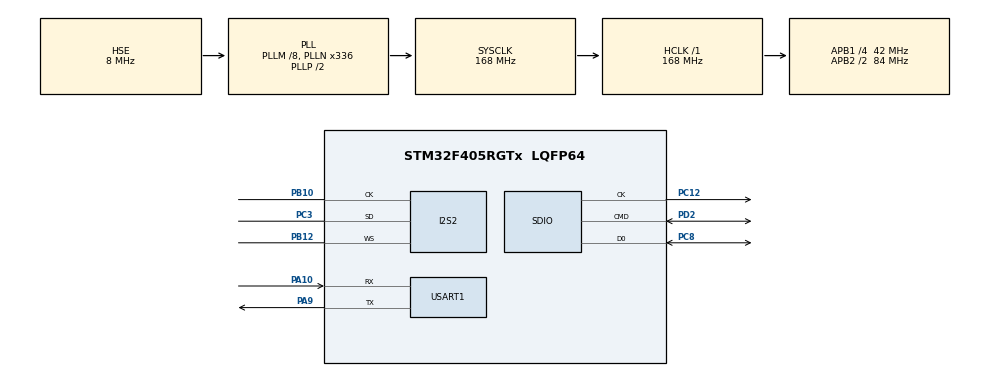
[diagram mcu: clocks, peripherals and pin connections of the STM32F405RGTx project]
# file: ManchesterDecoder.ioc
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Dma.Request0=SDIO_RX
Dma.Request1=SDIO_TX
Dma.Request2=SPI2_RX
Dma.SDIO_RX.0.Direction=DMA_PERIPH_TO_MEMORY
Dma.SDIO_RX.0.FIFOMode=DMA_FIFOMODE_ENABLE
Dma.SDIO_RX.0.FIFOThreshold=DMA_FIFO_THRESHOLD_FULL
Dma.SDIO_RX.0.Instance=DMA2_Stream3
Dma.SDIO_RX.0.MemBurst=DMA_MBURST_INC4
Dma.SDIO_RX.0.MemDataAlignment=DMA_MDATAALIGN_WORD
Dma.SDIO_RX.0.MemInc=DMA_MINC_ENABLE
Dma.SDIO_RX.0.Mode=DMA_PFCTRL
Dma.SDIO_RX.0.PeriphBurst=DMA_PBURST_INC4
Dma.SDIO_RX.0.PeriphDataAlignment=DMA_PDATAALIGN_WORD
Dma.SDIO_RX.0.PeriphInc=DMA_PINC_DISABLE
Dma.SDIO_RX.0.Priority=DMA_PRIORITY_LOW
Dma.SDIO_TX.1.Direction=DMA_MEMORY_TO_PERIPH
Dma.SDIO_TX.1.FIFOMode=DMA_FIFOMODE_ENABLE
Dma.SDIO_TX.1.FIFOThreshold=DMA_FIFO_THRESHOLD_FULL
Dma.SDIO_TX.1.Instance=DMA2_Stream6
Dma.SDIO_TX.1.MemBurst=DMA_MBURST_INC4
Dma.SDIO_TX.1.MemDataAlignment=DMA_MDATAALIGN_WORD
Dma.SDIO_TX.1.MemInc=DMA_MINC_ENABLE
Dma.SDIO_TX.1.Mode=DMA_PFCTRL
Dma.SDIO_TX.1.PeriphBurst=DMA_PBURST_INC4
Dma.SDIO_TX.1.PeriphDataAlignment=DMA_PDATAALIGN_WORD
Dma.SDIO_TX.1.PeriphInc=DMA_PINC_DISABLE
Dma.SDIO_TX.1.Priority=DMA_PRIORITY_LOW
Dma.SPI2_RX.2.Direction=DMA_PERIPH_TO_MEMORY
Dma.SPI2_RX.2.FIFOMode=DMA_FIFOMODE_DISABLE
Dma.SPI2_RX.2.Instance=DMA1_Stream3
Dma.SPI2_RX.2.MemDataAlignment=DMA_MDATAALIGN_HALFWORD
Dma.SPI2_RX.2.MemInc=DMA_MINC_ENABLE
Dma.SPI2_RX.2.Mode=DMA_CIRCULAR
Dma.SPI2_RX.2.PeriphDataAlignment=DMA_PDATAALIGN_HALFWORD
Dma.SPI2_RX.2.PeriphInc=DMA_PINC_DISABLE
Dma.SPI2_RX.2.Priority=DMA_PRIORITY_LOW
FATFS._MAX_SS=2048
FATFS._MIN_SS=512
FATFS._USE_LFN=2
FREERTOS.Tasks01=ReadMicro,24,1024,StartReadMicro,Default,NULL,Dynamic,NULL,NULL;SDAudioWriter,24,1024,StartSDAudioWriter,Default,NULL,Dynamic,NULL,NULL;SDIMUWriter,24,1024,StartSDIMUWriter,Default,NULL,Dynamic,NULL,NULL;ReadIMUHandle,24,1024,StartReamIMUHandle,Default,NULL,Dynamic,NULL,NULL
FREERTOS.configMINIMAL_STACK_SIZE=1024
FREERTOS.configTOTAL_HEAP_SIZE=50000
I2S2.AudioFreq=I2S_AUDIOFREQ_44K
I2S2.AudioFreqCustom=64000
I2S2.CPOL=I2S_CPOL_LOW
I2S2.DataFormat=I2S_DATAFORMAT_16B
I2S2.ErrorAudioFreq=-0.56 %
I2S2.FullDuplexMode=I2S_FULLDUPLEXMODE_DISABLE
I2S2.Instance=SPI$Index
I2S2.Mode=I2S_MODE_MASTER_RX
I2S2.RealAudioFreq=43.75 KHz
I2S2.VirtualMode=I2S_MODE_MASTER
Mcu.Family=STM32F4
Mcu.Name=STM32F405RGTx
Mcu.Package=LQFP64
NVIC.DMA1_Stream3_IRQn=true\:5\:0\:false\:false\:true\:true\:false\:true\:true
NVIC.DMA2_Stream3_IRQn=true\:5\:0\:false\:false\:true\:true\:false\:true\:true
NVIC.DMA2_Stream6_IRQn=true\:5\:0\:false\:false\:true\:true\:false\:true\:true
NVIC.PriorityGroup=NVIC_PRIORITYGROUP_4
NVIC.SDIO_IRQn=true\:5\:0\:false\:false\:true\:true\:true\:true\:true
NVIC.SPI2_IRQn=true\:5\:0\:false\:false\:true\:true\:true\:true\:true
PA10.Mode=Asynchronous
PA10.Signal=USART1_RX
PA9.Mode=Asynchronous
PA9.Signal=USART1_TX
PB10.Mode=Half_Duplex_Master
PB10.Signal=I2S2_CK
PB12.Mode=Half_Duplex_Master
PB12.Signal=I2S2_WS
PC12.GPIO_PuPd=GPIO_NOPULL
PC12.Mode=SD_1_bit
PC12.Signal=SDIO_CK
PC14-OSC32_IN.Mode=LSE-External-Oscillator
PC14-OSC32_IN.Signal=RCC_OSC32_IN
PC15-OSC32_OUT.Mode=LSE-External-Oscillator
PC15-OSC32_OUT.Signal=RCC_OSC32_OUT
PC3.Mode=Half_Duplex_Master
PC3.Signal=I2S2_SD
PC8.GPIO_PuPd=GPIO_PULLUP
PC8.Mode=SD_1_bit
PC8.Signal=SDIO_D0
PD2.GPIO_PuPd=GPIO_PULLUP
PD2.Mode=SD_1_bit
PD2.Signal=SDIO_CMD
PH0-OSC_IN.Mode=HSE-External-Oscillator
PH0-OSC_IN.Signal=RCC_OSC_IN
PH1-OSC_OUT.Mode=HSE-External-Oscillator
PH1-OSC_OUT.Signal=RCC_OSC_OUT
ProjectManager.HeapSize=0x400
ProjectManager.StackSize=0x800
ProjectManager.TargetToolchain=STM32CubeIDE
RCC.48MHZClocksFreq_Value=48000000
RCC.AHBFreq_Value=168000000
RCC.APB1CLKDivider=RCC_HCLK_DIV4
RCC.APB1Freq_Value=42000000
RCC.APB1TimFreq_Value=84000000
RCC.APB2CLKDivider=RCC_HCLK_DIV2
RCC.APB2Freq_Value=84000000
RCC.APB2TimFreq_Value=168000000
RCC.CortexFreq_Value=168000000
RCC.HCLKFreq_Value=168000000
RCC.HSE_VALUE=8000000
RCC.HSI_VALUE=16000000
RCC.PLLI2SN=168
RCC.PLLI2SR=4
RCC.PLLM=8
RCC.PLLN=336
RCC.PLLQ=7
RCC.PLLSourceVirtual=RCC_PLLSOURCE_HSE
RCC.SYSCLKFreq_VALUE=168000000
RCC.SYSCLKSource=RCC_SYSCLKSOURCE_PLLCLK
RCC.VCOOutputFreq_Value=336000000
SDIO.ClockBypass=SDIO_CLOCK_BYPASS_DISABLE
SDIO.ClockDiv=20
USART1.VirtualMode=VM_ASYNC
VP_FATFS_VS_SDIO.Mode=SDIO
VP_FREERTOS_VS_CMSIS_V2.Mode=CMSIS_V2
board=custom

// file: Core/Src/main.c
/* USER CODE BEGIN Header */
/**
  ******************************************************************************
  * @file           : main.c
  * @brief          : Main program body - ASK Manchester Decoder Edition
  ******************************************************************************
  */
/* USER CODE END Header */
#include "main.h"
#include "cmsis_os.h"
#include "fatfs.h"

/* USER CODE BEGIN Includes */
#include "log_message.h"
#include "wav_header.h"
#include <stdio.h>
#include <stdbool.h>
#include <string.h>
#include <math.h>
/* USER CODE END Includes */

/* USER CODE BEGIN PD */
// 44117 Hz / 100 bps = 441 samples per bit.
#define SAMPLES_PER_BIT 281
#define PREAMBLE_BITS   48         // 6 bytes of 00h = 48 bits
#define SYNC_BITS       16         // B2 4D = 16 bits
#define PAYLOAD_BITS    40         // 03 AB CD 90 35 = 5 bytes = 40 bits
/* USER CODE END PD */

I2S_HandleTypeDef hi2s2;
DMA_HandleTypeDef hdma_spi2_rx;

SD_HandleTypeDef hsd;
DMA_HandleTypeDef hdma_sdio_rx;
DMA_HandleTypeDef hdma_sdio_tx;

UART_HandleTypeDef huart1;

/* USER CODE BEGIN PV */
osThreadId_t ReadMicroHandle;
const osThreadAttr_t ReadMicro_attributes = {
  .name = "ReadMicro",
  .stack_size = 1024 * 4,
  .priority = (osPriority_t) osPriorityNormal,
};

osThreadId_t SDAudioWriterHandle;
const osThreadAttr_t SDAudioWriter_attributes = {
  .name = "SDAudioWriter",
  .stack_size = 1024 * 4,
  .priority = (osPriority_t) osPriorityNormal,
};

osThreadId_t ManchesterDecoderHandle;
const osThreadAttr_t ManchesterDecoder_attributes = {
  .name = "ManchDecoder",
  .stack_size = 4096 * 4,
  .priority = (osPriority_t) osPriorityHigh,
};

#define AUDIO_BUFFER_SIZE 1024
#define SAFE_POOL_DEPTH 30

int16_t AudioSafePool[SAFE_POOL_DEPTH][AUDIO_BUFFER_SIZE / 2];
volatile uint8_t pool_write_idx = 0;

__attribute__((aligned(2))) int16_t AudioDMA_Buffer[AUDIO_BUFFER_SIZE];
__attribute__((aligned(2))) int16_t SDWriteAudioBuffer[AUDIO_BUFFER_SIZE];

osMessageQueueId_t AudioLogQueueHandle;
osMessageQueueId_t DecoderAudioQueueHandle;

osSemaphoreId_t SDMountedSem;
osSemaphoreId_t StartCaptureSem;

float agc_gain = 1.0f;
const float AGC_TARGET_PEAK = 10000.0f;
const float AGC_ATTACK = 0.05;
const float AGC_RELEASE = 0.01;

osMutexId_t SDMutexHandle;
const osMutexAttr_t SDMutex_attributes = {
  .name = "SDMutex"
};

// Globals required by log_message.h
osMessageQueueId_t LogQueueHandle = NULL;
osSemaphoreId_t LoggerReadySem = NULL;
/* USER CODE END PV */

void SystemClock_Config(void);
static void MX_GPIO_Init(void);
static void MX_DMA_Init(void);
static void MX_SDIO_SD_Init(void);
static void MX_USART1_UART_Init(void);
static void MX_I2S2_Init(void);
void StartReadMicro(void *argument);
void StartSDAudioWriter(void *argument);
void StartManchesterDecoder(void *argument);

/* USER CODE BEGIN PFP */
int _write(int file, char *ptr, int len) {
    HAL_UART_Transmit(&huart1, (uint8_t *)ptr, len, 100);
    return len;
}
/* USER CODE END PFP */

int main(void)
{
  HAL_Init();
  SystemClock_Config();

  MX_GPIO_Init();
  MX_DMA_Init();
  MX_SDIO_SD_Init();
  MX_USART1_UART_Init();
  MX_FATFS_Init();
  MX_I2S2_Init();

  osKernelInitialize();

  SDMutexHandle = osMutexNew(&SDMutex_attributes);
  if (SDMutexHandle == NULL) Error_Handler();

  const osSemaphoreAttr_t SDMounted_attr = { .name = "SDMounted" };
  const osSemaphoreAttr_t StartCapture_attr = { .name = "StartCapture" };
  SDMountedSem = osSemaphoreNew(1, 0, &SDMounted_attr);
  StartCaptureSem = osSemaphoreNew(1, 0, &StartCapture_attr);
  if (SDMountedSem == NULL || StartCaptureSem == NULL) Error_Handler();

  AudioLogQueueHandle = osMessageQueueNew(30, sizeof(LogMessage_t), NULL);
  DecoderAudioQueueHandle = osMessageQueueNew(30, sizeof(LogMessage_t), NULL);
  if (AudioLogQueueHandle == NULL || DecoderAudioQueueHandle == NULL) Error_Handler();

  ReadMicroHandle = osThreadNew(StartReadMicro, NULL, &ReadMicro_attributes);
  SDAudioWriterHandle = osThreadNew(StartSDAudioWriter, NULL, &SDAudioWriter_attributes);
  ManchesterDecoderHandle = osThreadNew(StartManchesterDecoder, NULL, &ManchesterDecoder_attributes);

  osKernelStart();

  while (1) {}
}

void SystemClock_Config(void)
{
  RCC_OscInitTypeDef RCC_OscInitStruct = {0};
  RCC_ClkInitTypeDef RCC_ClkInitStruct = {0};

  __HAL_RCC_PWR_CLK_ENABLE();
  __HAL_PWR_VOLTAGESCALING_CONFIG(PWR_REGULATOR_VOLTAGE_SCALE1);

  RCC_OscInitStruct.OscillatorType = RCC_OSCILLATORTYPE_HSE;
  RCC_OscInitStruct.HSEState = RCC_HSE_ON;
  RCC_OscInitStruct.PLL.PLLState = RCC_PLL_ON;
  RCC_OscInitStruct.PLL.PLLSource = RCC_PLLSOURCE_HSE;
  RCC_OscInitStruct.PLL.PLLM = 8;
  RCC_OscInitStruct.PLL.PLLN = 336;
  RCC_OscInitStruct.PLL.PLLP = RCC_PLLP_DIV2;
  RCC_OscInitStruct.PLL.PLLQ = 7;
  if (HAL_RCC_OscConfig(&RCC_OscInitStruct) != HAL_OK) Error_Handler();

  RCC_ClkInitStruct.ClockType = RCC_CLOCKTYPE_HCLK|RCC_CLOCKTYPE_SYSCLK
                              |RCC_CLOCKTYPE_PCLK1|RCC_CLOCKTYPE_PCLK2;
  RCC_ClkInitStruct.SYSCLKSource = RCC_SYSCLKSOURCE_PLLCLK;
  RCC_ClkInitStruct.AHBCLKDivider = RCC_SYSCLK_DIV1;
  RCC_ClkInitStruct.APB1CLKDivider = RCC_HCLK_DIV4;
  RCC_ClkInitStruct.APB2CLKDivider = RCC_HCLK_DIV2;

  if (HAL_RCC_ClockConfig(&RCC_ClkInitStruct, FLASH_LATENCY_5) != HAL_OK) Error_Handler();
}

static void MX_I2S2_Init(void)
{
  hi2s2.Instance = SPI2;
  hi2s2.Init.Mode = I2S_MODE_MASTER_RX;
  hi2s2.Init.Standard = I2S_STANDARD_PHILIPS;
  hi2s2.Init.DataFormat = I2S_DATAFORMAT_16B;
  hi2s2.Init.MCLKOutput = I2S_MCLKOUTPUT_DISABLE;
  hi2s2.Init.AudioFreq = I2S_AUDIOFREQ_44K;
  hi2s2.Init.CPOL = I2S_CPOL_LOW;
  hi2s2.Init.ClockSource = I2S_CLOCK_PLL;
  hi2s2.Init.FullDuplexMode = I2S_FULLDUPLEXMODE_DISABLE;
  if (HAL_I2S_Init(&hi2s2) != HAL_OK) Error_Handler();
}

static void MX_SDIO_SD_Init(void)
{
  hsd.Instance = SDIO;
  hsd.Init.ClockEdge = SDIO_CLOCK_EDGE_RISING;
  hsd.Init.ClockBypass = SDIO_CLOCK_BYPASS_DISABLE;
  hsd.Init.ClockPowerSave = SDIO_CLOCK_POWER_SAVE_DISABLE;
  hsd.Init.BusWide = SDIO_BUS_WIDE_1B;
  hsd.Init.HardwareFlowControl = SDIO_HARDWARE_FLOW_CONTROL_DISABLE;
  hsd.Init.ClockDiv = 20;
  if (HAL_SD_Init(&hsd) != HAL_OK) Error_Handler();
}

static void MX_USART1_UART_Init(void)
{
  huart1.Instance = USART1;
  huart1.Init.BaudRate = 115200;
  huart1.Init.WordLength = UART_WORDLENGTH_8B;
  huart1.Init.StopBits = UART_STOPBITS_1;
  huart1.Init.Parity = UART_PARITY_NONE;
  huart1.Init.Mode = UART_MODE_TX_RX;
  huart1.Init.HwFlowCtl = UART_HWCONTROL_NONE;
  huart1.Init.OverSampling = UART_OVERSAMPLING_16;
  if (HAL_UART_Init(&huart1) != HAL_OK) Error_Handler();
}

static void MX_DMA_Init(void)
{
  __HAL_RCC_DMA2_CLK_ENABLE();
  __HAL_RCC_DMA1_CLK_ENABLE();

  HAL_NVIC_SetPriority(DMA1_Stream3_IRQn, 5, 0);
  HAL_NVIC_EnableIRQ(DMA1_Stream3_IRQn);
  HAL_NVIC_SetPriority(DMA2_Stream3_IRQn, 5, 0);
  HAL_NVIC_EnableIRQ(DMA2_Stream3_IRQn);
  HAL_NVIC_SetPriority(DMA2_Stream6_IRQn, 5, 0);
  HAL_NVIC_EnableIRQ(DMA2_Stream6_IRQn);
}

static void MX_GPIO_Init(void)
{
  __HAL_RCC_GPIOC_CLK_ENABLE();
  __HAL_RCC_GPIOH_CLK_ENABLE();
  __HAL_RCC_GPIOB_CLK_ENABLE();
  __HAL_RCC_GPIOA_CLK_ENABLE();
  __HAL_RCC_GPIOD_CLK_ENABLE();
}

/* USER CODE BEGIN 4 */
volatile uint32_t irq_count = 0;

void HAL_I2S_RxHalfCpltCallback(I2S_HandleTypeDef *hi2s)
{
    if (hi2s == &hi2s2)
    {
        irq_count++;
        LogMessage_t msg;
        msg.type = MSG_TYPE_AUDIO;

        uint8_t current_idx = pool_write_idx;
        pool_write_idx++;
        if (pool_write_idx >= SAFE_POOL_DEPTH) pool_write_idx = 0;

        memcpy(AudioSafePool[current_idx], AudioDMA_Buffer, (AUDIO_BUFFER_SIZE / 2) * sizeof(int16_t));

        msg.data.audio.bufferPtr = AudioSafePool[current_idx];
        msg.data.audio.sampleCount = AUDIO_BUFFER_SIZE / 2;

        osMessageQueuePut(AudioLogQueueHandle, &msg, 0, 0);
        osMessageQueuePut(DecoderAudioQueueHandle, &msg, 0, 0);
    }
}

void HAL_I2S_RxCpltCallback(I2S_HandleTypeDef *hi2s)
{
    if (hi2s == &hi2s2)
    {
        irq_count++;
        LogMessage_t msg;
        msg.type = MSG_TYPE_AUDIO;

        uint8_t current_idx = pool_write_idx;
        pool_write_idx++;
        if (pool_write_idx >= SAFE_POOL_DEPTH) pool_write_idx = 0;

        memcpy(AudioSafePool[current_idx], &AudioDMA_Buffer[AUDIO_BUFFER_SIZE / 2], (AUDIO_BUFFER_SIZE / 2) * sizeof(int16_t));

        msg.data.audio.bufferPtr = AudioSafePool[current_idx];
        msg.data.audio.sampleCount = AUDIO_BUFFER_SIZE / 2;

        osMessageQueuePut(AudioLogQueueHandle, &msg, 0, 0);
        osMessageQueuePut(DecoderAudioQueueHandle, &msg, 0, 0);
    }
}
/* USER CODE END 4 */

void StartReadMicro(void *argument)
{
    printf(">>> Audio: Waiting...\r\n");
    if (osSemaphoreAcquire(StartCaptureSem, osWaitForever) == osOK) {
        printf(">>> Audio: Starting DMA...\r\n");
        if (HAL_I2S_Receive_DMA(&hi2s2, (uint16_t*)AudioDMA_Buffer, AUDIO_BUFFER_SIZE) != HAL_OK) {
            Error_Handler();
        }
    }
    while(1) { osDelay(1000); }
}

void StartSDAudioWriter(void *argument)
{
    printf(">>> SD Writer: Task started.\r\n");
	LogMessage_t msg;
	FRESULT fres;
	UINT bytesWritten;
	char filename[32] = "Recording.WAV";

	const uint32_t SAMPLE_RATE = 44117;
	const uint16_t BITS_PER_SAMPLE = 16;
	const uint16_t CHANNELS = 1;
	const uint32_t RECORD_DURATION_SEC = 15;
	const uint32_t targetSamples = RECORD_DURATION_SEC * SAMPLE_RATE;

	WavHeader header;
	WAV_InitHeader(&header, SAMPLE_RATE, BITS_PER_SAMPLE, CHANNELS);

    printf(">>> SD Writer: Attempting to mount SD card...\r\n");
	if (f_mount(&SDFatFS, (TCHAR const*)SDPath, 1) != FR_OK) {
        printf(">>> SD Writer: MOUNT FAILED! Entering Error_Handler.\r\n");
        Error_Handler();
    }
    printf(">>> SD Writer: SD Card mounted successfully.\r\n");
    osSemaphoreRelease(SDMountedSem);

    printf(">>> SD Writer: Opening WAV file...\r\n");
	osMutexAcquire(SDMutexHandle, osWaitForever);
	fres = f_open(&SDFile, filename, FA_CREATE_ALWAYS | FA_WRITE);
	if (fres != FR_OK) {
        printf(">>> SD Writer: FILE OPEN FAILED! Error code: %d\r\n", fres);
        osMutexRelease(SDMutexHandle);
        Error_Handler();
    }

    printf(">>> SD Writer: Writing WAV header...\r\n");
	fres = f_write(&SDFile, &header, sizeof(header), &bytesWritten);
	osMutexRelease(SDMutexHandle);

    printf(">>> SD Writer: Releasing StartCapture semaphore.\r\n");
    osSemaphoreRelease(StartCaptureSem);

	uint32_t totalSamplesRecorded = 0;

	for(;;)
	{
		if (osMessageQueueGet(AudioLogQueueHandle, &msg, NULL, osWaitForever) == osOK)
		{
			if (msg.type == MSG_TYPE_AUDIO)
			{
				int16_t* src16 = (int16_t*)msg.data.audio.bufferPtr;
				uint16_t monoCount = msg.data.audio.sampleCount / 2;

				float peak = 0.0f;
				for(uint32_t i = 0; i < monoCount; i++) {
					float val = fabsf((float)src16[i * 2]);
					if (val > peak) peak = val;
				}
				if (peak < 1.0f) peak = 1.0f;
				float desired_gain = AGC_TARGET_PEAK / peak;
				if (desired_gain < agc_gain) agc_gain = (agc_gain * (1.0f - AGC_ATTACK)) + (desired_gain * AGC_ATTACK);
				else agc_gain = (agc_gain * (1.0f - AGC_RELEASE)) + (desired_gain * AGC_RELEASE);

				for(uint32_t i = 0; i < monoCount; i++) {
					float val = (float)src16[i * 2] * agc_gain;
					if (val > 32767.0f) val = 32767.0f;
					if (val < -32768.0f) val = -32768.0f;
					SDWriteAudioBuffer[i] = (int16_t)val;
				}

				uint32_t byteSize = monoCount * 2;
				osMutexAcquire(SDMutexHandle, osWaitForever);
				fres = f_write(&SDFile, SDWriteAudioBuffer, byteSize, &bytesWritten);
				osMutexRelease(SDMutexHandle);

				if (fres == FR_OK && bytesWritten == byteSize) {
					totalSamplesRecorded += monoCount;
					if (totalSamplesRecorded >= targetSamples) break;
				}
			}
		}
	}

	WAV_UpdateHeaderSizes(&header, totalSamplesRecorded);
	f_lseek(&SDFile, 0);
	f_write(&SDFile, &header, sizeof(header), &bytesWritten);
	f_close(&SDFile);
    printf(">>> SD Writer: Recording finished.\r\n");
	HAL_I2S_DMAStop(&hi2s2);
	osThreadTerminate(osThreadGetId());
}

/* ========================================================================
   MANCHESTER DECODER THREAD
   ======================================================================== */

// Optimized to only search 16 bits of the preamble to save CPU/RAM
int find_initial_offset(float* signal, int len) {
    int best_offset = 0;
    float max_score = -1e9f;
    int half = SAMPLES_PER_BIT / 2;
    int search_bits = 16;

    for (int offset = 0; offset < SAMPLES_PER_BIT; offset++) {
        float score = 0.0f;
        int valid_bits = 0;

        for (int b = 0; b < search_bits; b++) {
            int start = offset + b * SAMPLES_PER_BIT;
            int mid = start + half;
            int end = start + SAMPLES_PER_BIT;

            if (end >= len) break;

            float sum1 = 0, sum2 = 0;
            for (int i = 0; i < half; i++) {
                sum1 += signal[start + i];
                sum2 += signal[mid + i];
            }

            float metric = fabsf((sum1 / half) - (sum2 / half));
            score += metric;
            valid_bits++;
        }

        if (valid_bits > 0) {
            score /= valid_bits;
            if (score > max_score) {
                max_score = score;
                best_offset = offset;
            }
        }
    }
    return best_offset;
}

void StartManchesterDecoder(void *argument)
{
    LogMessage_t msg;
    FRESULT fres;
    UINT bw;
    FIL DecodedFile, RefFile;

    osSemaphoreAcquire(SDMountedSem, osWaitForever);

    osMutexAcquire(SDMutexHandle, osWaitForever);
    fres = f_open(&RefFile, "reference.txt", FA_CREATE_ALWAYS | FA_WRITE);
    if (fres == FR_OK) {
        char ref_str[] = "Expected Hex: B2 4D 03 AB CD 90 35\n";
        f_write(&RefFile, ref_str, strlen(ref_str), &bw);
        f_close(&RefFile);
    }

    fres = f_open(&DecodedFile, "decoded_bits.txt", FA_CREATE_ALWAYS | FA_WRITE);
    if (fres != FR_OK) {
        osMutexRelease(SDMutexHandle);
        Error_Handler();
    }

    char header_str[] = "SampleIdx | Status | Decoded Hex\n";
    f_write(&DecodedFile, header_str, strlen(header_str), &bw);
    osMutexRelease(SDMutexHandle);

    printf(">>> Decoder: Ready. Waiting for audio...\r\n");

    float temp_float_buffer[AUDIO_BUFFER_SIZE / 2];
    int samples_in_current_bit = 0;
    float sum1 = 0.0f, sum2 = 0.0f;
    int half_bit = SAMPLES_PER_BIT / 2;

    // ASK Envelope Detector State
    float env = 0.0f;
    const float ENV_ALPHA = 0.98f;   // ~1.5 ms smoothing at 44.1 kHz

    // Phase Acquisition Buffer (20 bits is plenty to lock phase, saves RAM)
    #define ACQ_BITS 20
    #define ACQ_SAMPLES (ACQ_BITS * SAMPLES_PER_BIT)
    static float acq_buf[ACQ_SAMPLES];
    static uint32_t acq_fill = 0;

    uint32_t bit_shift_reg = 0;
    int decoded_bits_count = 0;
    uint8_t payload_bytes[5] = {0};
    int payload_byte_idx = 0;
    int payload_bit_idx = 0;

    enum { STATE_SEARCH_SYNC, STATE_READ_PAYLOAD } state = STATE_SEARCH_SYNC;
    uint32_t global_sample_idx = 0;
    bool phase_locked = false;
    int locked_offset = 0;

    for(;;)
    {
        if (osMessageQueueGet(DecoderAudioQueueHandle, &msg, NULL, osWaitForever) == osOK)
        {
            if (msg.type == MSG_TYPE_AUDIO)
            {
                int16_t* src16 = (int16_t*)msg.data.audio.bufferPtr;
                uint16_t stereoCount = msg.data.audio.sampleCount;
                uint16_t monoCount = stereoCount / 2;

                for(uint32_t i = 0; i < monoCount; i++) {
                    float x = (float)src16[i * 2];

                    // Envelope detector: rectify + exponential moving average
                    env = ENV_ALPHA * env + (1.0f - ENV_ALPHA) * fabsf(x);
                    float processed = env;

                    if (!phase_locked) {
                        if (acq_fill < ACQ_SAMPLES) {
                            acq_buf[acq_fill++] = processed;
                        }
                        if (acq_fill == ACQ_SAMPLES) {
                            locked_offset = find_initial_offset(acq_buf, ACQ_SAMPLES);
                            samples_in_current_bit = (ACQ_SAMPLES - locked_offset) % SAMPLES_PER_BIT;
                            phase_locked = true;
                            printf(">>> Decoder: Phase locked! Offset = %d\r\n", locked_offset);
                        }
                    } else {
                        if (samples_in_current_bit < half_bit) {
                            sum1 += processed;
                        } else {
                            sum2 += processed;
                        }
                        samples_in_current_bit++;
                        global_sample_idx++;

                        if (samples_in_current_bit == SAMPLES_PER_BIT) {
                            float metric = (sum2 / half_bit) - (sum1 / half_bit);
                            uint8_t bit = (metric >= 0.0f) ? 1 : 0;

                            bit_shift_reg = (bit_shift_reg << 1) | bit;
                            decoded_bits_count++;

                            if (state == STATE_SEARCH_SYNC) {
                                if ((bit_shift_reg & 0xFFFF) == 0xB24D) {
                                    printf(">>> Decoder: SYNC FOUND at sample %lu!\r\n", global_sample_idx);
                                    state = STATE_READ_PAYLOAD;
                                    payload_byte_idx = 0;
                                    payload_bit_idx = 0;
                                    memset(payload_bytes, 0, sizeof(payload_bytes));
                                }
                            }
                            else if (state == STATE_READ_PAYLOAD) {
                                payload_bytes[payload_byte_idx] = (payload_bytes[payload_byte_idx] << 1) | bit;
                                payload_bit_idx++;

                                if (payload_bit_idx == 8) {
                                    payload_bit_idx = 0;
                                    payload_byte_idx++;

                                    if (payload_byte_idx >= 5) {
                                        char log_str[128];
                                        int len = snprintf(log_str, sizeof(log_str), "%lu | SUCCESS | %02X %02X %02X %02X %02X\n",
                                                           global_sample_idx,
                                                           payload_bytes[0], payload_bytes[1], payload_bytes[2],
                                                           payload_bytes[3], payload_bytes[4]);

                                        osMutexAcquire(SDMutexHandle, osWaitForever);
                                        f_write(&DecodedFile, log_str, len, &bw);
                                        osMutexRelease(SDMutexHandle);

                                        printf(">>> Decoder: Payload: %02X %02X %02X %02X %02X\r\n",
                                               payload_bytes[0], payload_bytes[1], payload_bytes[2],
                                               payload_bytes[3], payload_bytes[4]);

                                        state = STATE_SEARCH_SYNC;
                                    }
                                }
                            }

                            samples_in_current_bit = 0;
                            sum1 = 0.0f;
                            sum2 = 0.0f;
                        }
                    }
                }
            }
        }
    }
}

void Error_Handler(void)
{
  __disable_irq();
  while (1) {}
}
